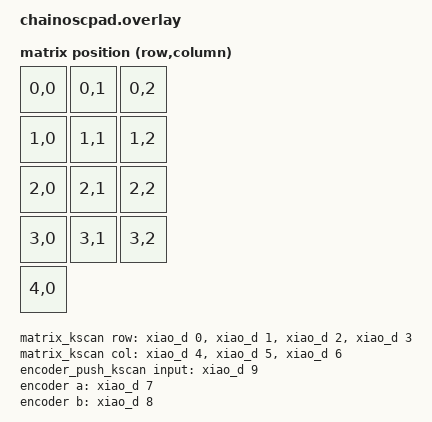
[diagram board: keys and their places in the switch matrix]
#include <dt-bindings/zmk/matrix_transform.h>

/*
 * ChainOSCPad wiring
 * D0..D3 = ROW0..ROW3
 * D4..D6 = COL0..COL2
 * D7 = Encoder A
 * D8 = Encoder B
 * D9 = Encoder Push
 * D10 = Spare
 *
 * PCB diode direction: COL ->| ROW
 */

/ {
    chosen {
        zmk,kscan = &kscan_composite;
        zmk,matrix-transform = &default_transform;
    };

    matrix_kscan: matrix_kscan {
        compatible = "zmk,kscan-gpio-matrix";
        wakeup-source;
        diode-direction = "col2row";

        row-gpios
            = <&xiao_d 0 (GPIO_ACTIVE_HIGH | GPIO_PULL_DOWN)>
            , <&xiao_d 1 (GPIO_ACTIVE_HIGH | GPIO_PULL_DOWN)>
            , <&xiao_d 2 (GPIO_ACTIVE_HIGH | GPIO_PULL_DOWN)>
            , <&xiao_d 3 (GPIO_ACTIVE_HIGH | GPIO_PULL_DOWN)>
            ;

        col-gpios
            = <&xiao_d 4 GPIO_ACTIVE_HIGH>
            , <&xiao_d 5 GPIO_ACTIVE_HIGH>
            , <&xiao_d 6 GPIO_ACTIVE_HIGH>
            ;

        debounce-press-ms = <5>;
        debounce-release-ms = <5>;
    };

    encoder_push_kscan: encoder_push_kscan {
        compatible = "zmk,kscan-gpio-direct";
        wakeup-source;
        input-gpios = <&xiao_d 9 (GPIO_ACTIVE_LOW | GPIO_PULL_UP)>;
        debounce-press-ms = <5>;
        debounce-release-ms = <5>;
    };

    kscan_composite: kscan {
        compatible = "zmk,kscan-composite";
        rows = <5>;
        columns = <3>;

        matrix {
            kscan = <&matrix_kscan>;
        };

        encoder_push {
            kscan = <&encoder_push_kscan>;
            row-offset = <4>;
            col-offset = <0>;
        };
    };

    default_transform: keymap_transform {
        compatible = "zmk,matrix-transform";
        rows = <5>;
        columns = <3>;
        map = <
            RC(0,0) RC(0,1) RC(0,2)
            RC(1,0) RC(1,1) RC(1,2)
            RC(2,0) RC(2,1) RC(2,2)
            RC(3,0) RC(3,1) RC(3,2)
            RC(4,0)
        >;
    };

    encoder: encoder {
        compatible = "alps,ec11";
        a-gpios = <&xiao_d 7 (GPIO_ACTIVE_HIGH | GPIO_PULL_UP)>;
        b-gpios = <&xiao_d 8 (GPIO_ACTIVE_HIGH | GPIO_PULL_UP)>;
        steps = <80>;
        status = "okay";
    };

    sensors: sensors {
        compatible = "zmk,keymap-sensors";
        sensors = <&encoder>;
        triggers-per-rotation = <20>;
    };
};
